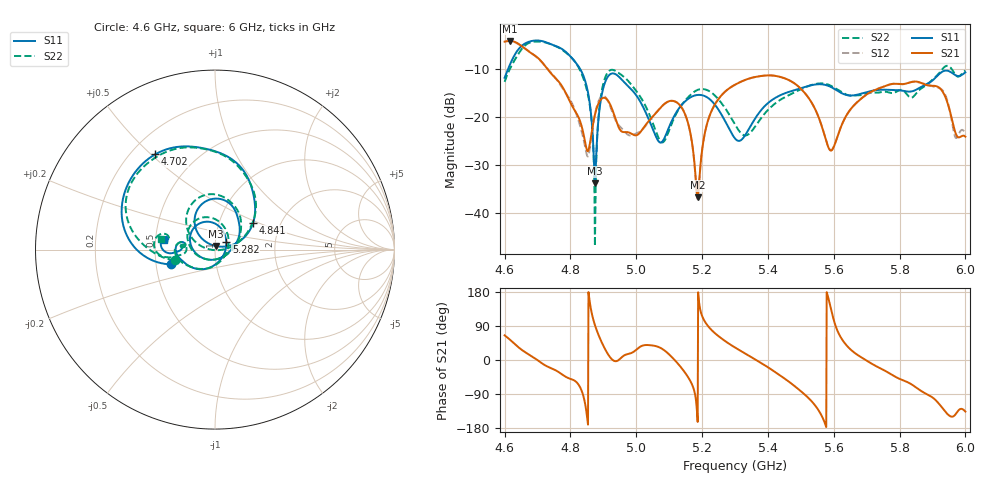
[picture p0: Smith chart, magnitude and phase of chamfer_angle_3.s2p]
! TOUCHSTONE file generated by CST MICROWAVE STUDIO
! Date and time: Sat Nov 30 03:29:15 2024
! Project name: test_tuning.cst
! Parameters = {airCoaxOuterDiameter=3; chamferAngle=39; chamferWidth=24; connectorLength=10; drillingHoleDiameter=4.1; feedLength=60; flareDiameter=130; flareLength=70; gratingDistance=0; gratingGap=1.90274; outletLength=30; polarizerLength=134; probe1Diameter=1.3; probe1Distance=14; probe1Length=1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
! Header version: 2024
! Port assignment regex: !\s*Touchstone port\s*([0-9]+)\s*=\s*(CST MWS port|CST DES external port|CST DES block port)\s*(.+)\s* \(\"(.*)\"\)(\s*mode\s*([0-9]+))?.*
! Touchstone port assignment:
! Touchstone port 1 = CST MWS port 1 ("Input1")
! Touchstone port 2 = CST MWS port 2 ("Input2")
# GHz S MA R 50
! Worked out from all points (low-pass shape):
!   1001 points, 4.6 GHz to 6 GHz, reference 50 ohm
!   highest |S21| = -4.16 dB at 4.615 GHz (marker M1); lowest = -36.7 dB at 5.187 GHz (marker M2)
!   |S21| within 3 dB of the highest: start of sweep to 4.691 GHz
!   lowest |S11| = -33.8 dB at 4.874 GHz (marker M3), VSWR 1.04, Z = 50.5 + j1.98 ohm
!   |S11| at or under -10 dB: start of sweep to 4.610596 GHz; 4.829 GHz to end of sweep
!   |S22| runs from -46.9 to -4.3 dB; largest |S21 - S12| = 0.01
!   S11 on the Smith chart (normalised r, x): 4.6 GHz: 0.60, -0.11; 4.702 GHz: 0.30, +0.52; 4.841 GHz: 1.45, +0.47; 5.282 GHz: 1.13, +0.10; 6 GHz: 0.55, +0.07
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4.6  0.2564 -161.1  0.6088 65.1  0.6132 65.4  0.2322 -165.1
4.6154  0.3462 -169.4  0.6193 54.2  0.6227 53.8  0.3127 -173.9
4.7022  0.6266 122.0  0.4096 -1.9  0.4057 -1.9  0.6108 122.5
4.8338  0.2968 41.5  0.08076 -80.5  0.07134 -79.3  0.2824 39.2
4.8408  0.261 35.3  0.06384 -100.0  0.05641 -94.2  0.2444 33.8
4.8548  0.1692 21.7  0.04501 179.3  0.03958 -169.9  0.1603 21.1
4.8744  0.02039 74.2  0.1053 92.1  0.1066 97.1  0.004493 -45.0
4.894  0.1624 131.8  0.1541 48.6  0.1628 48.4  0.1774 146.4
4.9206  0.2786 97.5  0.1351 7.1  0.1292 5.0  0.3069 103.6
4.9962  0.175 37.9  0.06439 24.3  0.06642 26.7  0.1938 41.3
5.0676  0.05585 -53.8  0.1179 34.4  0.1187 34.2  0.06066 -42.6
5.1432  0.1396 167.1  0.1163 -27.5  0.1172 -27.7  0.1412 172.6
5.1866  0.1696 129.8  0.01459 -163.4  0.01387 -163.8  0.1915 135.9
5.2202  0.156 99.6  0.09706 87.2  0.09699 87.5  0.187 104.9
5.2818  0.07577 34.1  0.1982 42.9  0.1977 43.0  0.1069 47.6
5.3  0.05965 2.0  0.2167 33.0  0.2169 33.1  0.08347 25.2
5.5338  0.2148 -173.4  0.1393 -109.9  0.1389 -110.2  0.2162 -168.0
5.5926  0.2042 169.2  0.04467 131.2  0.04503 131.1  0.2102 170.9
5.7676  0.1918 172.7  0.2173 -34.2  0.216 -34.0  0.1801 173.2
5.9188  0.2768 -177.4  0.2038 -114.6  0.2013 -112.9  0.2829 -171.6
5.9692  0.2733 165.6  0.06942 -144.2  0.0615 -139.9  0.2772 163.0
6  0.2915 169.1  0.06225 -136.2  0.0657 -144.9  0.3046 169.1
